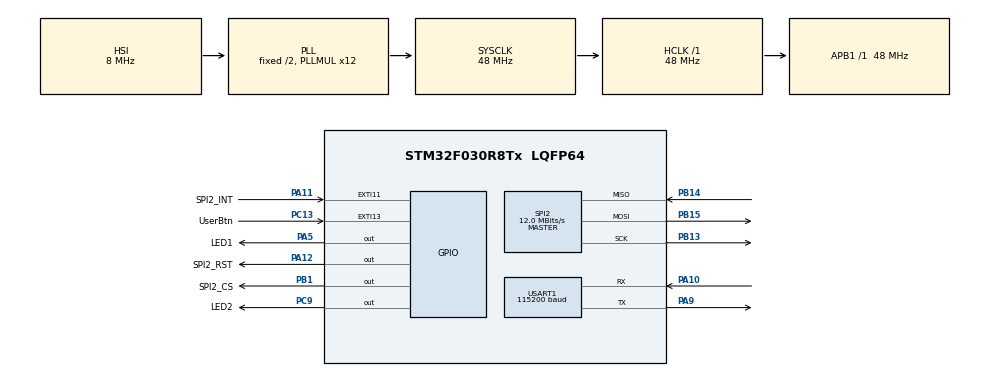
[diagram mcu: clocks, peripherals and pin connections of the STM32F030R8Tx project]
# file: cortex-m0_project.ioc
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Mcu.Family=STM32F0
Mcu.Name=STM32F030R8Tx
Mcu.Package=LQFP64
NVIC.EXTI4_15_IRQn=true\:0\:0\:false\:false\:true\:true\:true\:true
NVIC.SPI2_IRQn=true\:0\:0\:false\:false\:true\:true\:true\:true
NVIC.TIM1_BRK_UP_TRG_COM_IRQn=true\:0\:0\:false\:false\:true\:true\:true\:true
NVIC.TIM1_CC_IRQn=true\:0\:0\:false\:false\:true\:true\:true\:true
NVIC.TIM3_IRQn=true\:0\:0\:false\:false\:true\:true\:true\:true
NVIC.USART1_IRQn=true\:0\:0\:false\:false\:true\:true\:true\:true
PA10.Mode=Asynchronous
PA10.Signal=USART1_RX
PA11.GPIO_Label=SPI2_INT
PA11.Signal=GPXTI11
PA12.GPIO_Label=SPI2_RST
PA12.GPIO_Speed=GPIO_SPEED_FREQ_MEDIUM
PA12.Signal=GPIO_Output
PA13.Mode=Serial_Wire
PA13.Signal=SYS_SWDIO
PA14.Mode=Serial_Wire
PA14.Signal=SYS_SWCLK
PA5.GPIO_Label=LED1
PA5.Signal=GPIO_Output
PA9.Mode=Asynchronous
PA9.Signal=USART1_TX
PB1.GPIO_Label=SPI2_CS
PB1.GPIO_Speed=GPIO_SPEED_FREQ_MEDIUM
PB1.Signal=GPIO_Output
PB13.Mode=Full_Duplex_Master
PB13.Signal=SPI2_SCK
PB14.Mode=Full_Duplex_Master
PB14.Signal=SPI2_MISO
PB15.Mode=Full_Duplex_Master
PB15.Signal=SPI2_MOSI
PC13.GPIO_Label=UserBtn
PC13.GPIO_ModeDefaultEXTI=GPIO_MODE_IT_FALLING
PC13.Signal=GPXTI13
PC9.GPIO_Label=LED2
PC9.Signal=GPIO_Output
PF0-OSC_IN.Mode=HSE-External-Oscillator
PF0-OSC_IN.Signal=RCC_OSC_IN
PF1-OSC_OUT.Mode=HSE-External-Oscillator
PF1-OSC_OUT.Signal=RCC_OSC_OUT
ProjectManager.HeapSize=0x200
ProjectManager.StackSize=0x400
ProjectManager.TargetToolchain=STM32CubeIDE
RCC.AHBFreq_Value=48000000
RCC.APB1Freq_Value=48000000
RCC.APB1TimFreq_Value=48000000
RCC.HCLKFreq_Value=48000000
RCC.PLLMUL=RCC_PLL_MUL12
RCC.SYSCLKFreq_VALUE=48000000
RCC.SYSCLKSource=RCC_SYSCLKSOURCE_PLLCLK
SPI2.BaudRatePrescaler=SPI_BAUDRATEPRESCALER_4
SPI2.CalculateBaudRate=12.0 MBits/s
SPI2.DataSize=SPI_DATASIZE_8BIT
SPI2.Direction=SPI_DIRECTION_2LINES
SPI2.Mode=SPI_MODE_MASTER
SPI2.VirtualType=VM_MASTER
TIM1.Period=999
TIM1.Prescaler=47999
TIM3.Period=999
TIM3.Prescaler=47999
USART1.BaudRate=115200
USART1.VirtualMode-Asynchronous=VM_ASYNC
VP_TIM1_VS_ClockSourceINT.Mode=Internal
VP_TIM3_VS_ClockSourceINT.Mode=Internal
board=custom

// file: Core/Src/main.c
/* USER CODE BEGIN Header */
/**
 ******************************************************************************
 * @file
 *      : main.c
 * @brief          : Main program body
 ******************************************************************************
 * @attention
 *
 * Copyright (c) 2022 STMicroelectronics.
 * All rights reserved.
 *
 * This software is licensed under terms that can be found in the LICENSE file
 * in the root directory of this software component.
 * If no LICENSE file comes with this software, it is provided AS-IS.
 *
 ******************************************************************************
 */
/* USER CODE END Header */
#include "main.h"

/* USER CODE BEGIN Includes */
// ====================

// ====================
/* USER CODE END Includes */

/* USER CODE BEGIN PTD */
// ====================

// ====================
/* USER CODE END PTD */

/* USER CODE BEGIN PD */
// ====================

// ====================
/* USER CODE END PD */

/* USER CODE BEGIN PM */
// ====================

// ====================
/* USER CODE END PM */

SPI_HandleTypeDef hspi2;

TIM_HandleTypeDef htim1;
TIM_HandleTypeDef htim3;

UART_HandleTypeDef huart1;

/* USER CODE BEGIN PV */
// ====================
const uint8_t SOCKET_NUM = 1;
int16_t socketStatus = -1;

// ====================
/* USER CODE END PV */

void SystemClock_Config(void);
static void MX_GPIO_Init(void);
static void MX_TIM1_Init(void);
static void MX_USART1_UART_Init(void);
static void MX_SPI2_Init(void);
static void MX_TIM3_Init(void);
/* USER CODE BEGIN PFP */
// ====================
void Wiznet_Init(void);
void Wiznet_Select(void);
void Wiznet_Unselect(void);
void Wiznet_ReadBuff(uint8_t* buff, uint16_t len);
void Wiznet_WriteBuff(uint8_t* buff, uint16_t len);
uint8_t Wiznet_ReadByte(void);
void Wiznet_WriteByte(uint8_t byte);
//void Wiznet_CrisExit_Callback(void);
//void Wiznet_CrisEnter_Callback(void);
// ====================
/* USER CODE END PFP */

/* USER CODE BEGIN 0 */
// ====================

// ====================
/* USER CODE END 0 */

int main(void)
{
  /* USER CODE BEGIN 1 */
  // ====================

  // ====================
  /* USER CODE END 1 */

  /* MCU Configuration--------------------------------------------------------*/

  /* Reset of all peripherals, Initializes the Flash interface and the Systick. */
  HAL_Init();

  /* USER CODE BEGIN Init */
  // ====================

  // ====================
  /* USER CODE END Init */

  /* Configure the system clock */
  SystemClock_Config();

  /* USER CODE BEGIN SysInit */
  // ====================

  // ====================
  /* USER CODE END SysInit */

  /* Initialize all configured peripherals */
  MX_GPIO_Init();
  MX_TIM1_Init();
  MX_USART1_UART_Init();
  MX_SPI2_Init();
  MX_TIM3_Init();
  /* USER CODE BEGIN 2 */
  // ====================
  Wiznet_Init();

  // Timers
  __HAL_TIM_CLEAR_FLAG(&htim1, TIM_SR_UIF);
  HAL_TIM_Base_Start_IT(&htim1);
  //  __HAL_TIM_CLEAR_FLAG(&htim3, TIM_SR_UIF);
  //  HAL_TIM_Base_Start_IT(&htim3);
  // ~Timers

  // ====================
  /* USER CODE END 2 */

  /* Infinite loop */
  /* USER CODE BEGIN WHILE */
  // ====================

  while (1)
  {
    // CLIENT
    printf("Opening a socket #%d\r\n", SOCKET_NUM);
    socketStatus = socket(SOCKET_NUM, Sn_MR_TCP, 818, Sn_MR_ND);
    if (socketStatus != SOCKET_NUM) {
      printf("Opening of a socket #%d, failed with code: %d\r\n",
             SOCKET_NUM, socketStatus);
  //      continue;
    } else {
      printf("Socket #%d successfully opened!\r\n",
             SOCKET_NUM);
    }
    HAL_Delay(1000);

    socketStatus = httpc_connect(SOCKET_NUM);
    if (SOCK_OK != socketStatus) {
      printf("Cannot connect to the server. Code: %d\r\n",
             socketStatus);
    } else {
      printf("Connected to: %d.%d.%d.%d:%d\r\n",
             SERVER_IP[0], SERVER_IP[1], SERVER_IP[2], SERVER_IP[3], SERVER_PORT);
    }
    HAL_Delay(1000);

    Request request = {
        GET,
        (uint8_t*)"/?page=getcmd&id=6&val=0&st=0",
        (uint8_t*)"192.168.1.23:80"
    };
    socketStatus = httpc_send(SOCKET_NUM, &request);
    if (socketStatus <= 0) {
      printf("send() failed. Code: %d\r\n", socketStatus);
    } else {
      printf("Request successfully sent. Len: %d\r\n", socketStatus);
    }
    HAL_Delay(1000);

    socketStatus = httpc_recv(SOCKET_NUM);
    if (socketStatus <= 0) {
      printf("recv() failed. Code: %d\r\n", socketStatus);
    } else {
      printf("Reply processed.\r\n");
    }
    HAL_Delay(1000);

    printf("Disconnecting socket #%d\r\n", SOCKET_NUM);
    disconnect(SOCKET_NUM);

    printf("Closing socket #%d\r\n", SOCKET_NUM);
    close(SOCKET_NUM);

    HAL_Delay(1000);

//     SERVER
//    printf("Opening a socket #%d\r\n", SOCKET_NUM);
//    socketStatus = socket(SOCKET_NUM, Sn_MR_TCP, 80, 0);
//    if (socketStatus != SOCKET_NUM) {
//      printf("Opening of socket #%d, failed with code: %d\r\n", SOCKET_NUM, socketStatus);
//  //      continue;
//    }
//    printf("Socket #%d successfully opened!\r\n", SOCKET_NUM);
//
//    socketStatus = listen(SOCKET_NUM);
//    if (socketStatus !=  SOCK_OK) {
//      printf("Can't listen a socket. Code: %d\r\n", socketStatus);
////      continue;
//    }
//    printf("Listing to socket #%d\r\n", SOCKET_NUM);
//
//    while (getSn_SR(SOCKET_NUM) == SOCK_LISTEN);
//
//    printf("Input connection\r\n");
//    if (getSn_SR(SOCKET_NUM) != SOCK_ESTABLISHED) {
//      printf("Socket listing error: %d\r\n", socketStatus);
//    }
//
//    uint8_t rIP[4];
//    getsockopt(SOCKET_NUM, SO_DESTIP, rIP);
//    printf("Listening to: %d.%d.%d.%d\r\n", rIP[0], rIP[1], rIP[2], rIP[3]);
//
//    sprintf(message, "Input counter = %d", iterator);
//
//    socketStatus = send(SOCKET_NUM, (uint8_t*)message, strlen(message));
//    if (socketStatus != strlen(message)) {
//      printf("Cannot send data! Code:%d\r\n", socketStatus);
//    }
//
//    disconnect(SOCKET_NUM);
//
////    printf("Closing socket\r\n");
////    close(SOCKET_NUM);
//
//    HAL_Delay(1000);
//    ++iterator;
//
//     ~SERVER

    // ====================
    /* USER CODE END WHILE */

    /* USER CODE BEGIN 3 */
    // ====================
//    HAL_Delay(1000);
  }
  // ====================
  /* USER CODE END 3 */
}

void SystemClock_Config(void)
{
  RCC_OscInitTypeDef RCC_OscInitStruct = {0};
  RCC_ClkInitTypeDef RCC_ClkInitStruct = {0};
  RCC_PeriphCLKInitTypeDef PeriphClkInit = {0};

  /** Initializes the RCC Oscillators according to the specified parameters
  * in the RCC_OscInitTypeDef structure.
  */
  RCC_OscInitStruct.OscillatorType = RCC_OSCILLATORTYPE_HSI;
  RCC_OscInitStruct.HSIState = RCC_HSI_ON;
  RCC_OscInitStruct.HSICalibrationValue = RCC_HSICALIBRATION_DEFAULT;
  RCC_OscInitStruct.PLL.PLLState = RCC_PLL_ON;
  RCC_OscInitStruct.PLL.PLLSource = RCC_PLLSOURCE_HSI;
  RCC_OscInitStruct.PLL.PLLMUL = RCC_PLL_MUL12;
  RCC_OscInitStruct.PLL.PREDIV = RCC_PREDIV_DIV1;
  if (HAL_RCC_OscConfig(&RCC_OscInitStruct) != HAL_OK)
  {
    Error_Handler();
  }

  /** Initializes the CPU, AHB and APB buses clocks
  */
  RCC_ClkInitStruct.ClockType = RCC_CLOCKTYPE_HCLK|RCC_CLOCKTYPE_SYSCLK
                              |RCC_CLOCKTYPE_PCLK1;
  RCC_ClkInitStruct.SYSCLKSource = RCC_SYSCLKSOURCE_PLLCLK;
  RCC_ClkInitStruct.AHBCLKDivider = RCC_SYSCLK_DIV1;
  RCC_ClkInitStruct.APB1CLKDivider = RCC_HCLK_DIV1;

  if (HAL_RCC_ClockConfig(&RCC_ClkInitStruct, FLASH_LATENCY_1) != HAL_OK)
  {
    Error_Handler();
  }
  PeriphClkInit.PeriphClockSelection = RCC_PERIPHCLK_USART1;
  PeriphClkInit.Usart1ClockSelection = RCC_USART1CLKSOURCE_PCLK1;
  if (HAL_RCCEx_PeriphCLKConfig(&PeriphClkInit) != HAL_OK)
  {
    Error_Handler();
  }
}

static void MX_SPI2_Init(void)
{

  /* SPI2 parameter configuration*/
  hspi2.Instance = SPI2;
  hspi2.Init.Mode = SPI_MODE_MASTER;
  hspi2.Init.Direction = SPI_DIRECTION_2LINES;
  hspi2.Init.DataSize = SPI_DATASIZE_8BIT;
  hspi2.Init.CLKPolarity = SPI_POLARITY_LOW;
  hspi2.Init.CLKPhase = SPI_PHASE_1EDGE;
  hspi2.Init.NSS = SPI_NSS_SOFT;
  hspi2.Init.BaudRatePrescaler = SPI_BAUDRATEPRESCALER_4;
  hspi2.Init.FirstBit = SPI_FIRSTBIT_MSB;
  hspi2.Init.TIMode = SPI_TIMODE_DISABLE;
  hspi2.Init.CRCCalculation = SPI_CRCCALCULATION_DISABLE;
  hspi2.Init.CRCPolynomial = 7;
  hspi2.Init.CRCLength = SPI_CRC_LENGTH_DATASIZE;
  hspi2.Init.NSSPMode = SPI_NSS_PULSE_ENABLE;
  if (HAL_SPI_Init(&hspi2) != HAL_OK)
  {
    Error_Handler();
  }

}

static void MX_TIM1_Init(void)
{

  /* USER CODE BEGIN TIM1_Init 0 */
  // ====================

  // ====================
  /* USER CODE END TIM1_Init 0 */

  TIM_ClockConfigTypeDef sClockSourceConfig = {0};
  TIM_MasterConfigTypeDef sMasterConfig = {0};

  /* USER CODE BEGIN TIM1_Init 1 */
  // ====================

  // ====================
  /* USER CODE END TIM1_Init 1 */
  htim1.Instance = TIM1;
  htim1.Init.Prescaler = 47999;
  htim1.Init.CounterMode = TIM_COUNTERMODE_UP;
  htim1.Init.Period = 999;
  htim1.Init.ClockDivision = TIM_CLOCKDIVISION_DIV1;
  htim1.Init.RepetitionCounter = 0;
  htim1.Init.AutoReloadPreload = TIM_AUTORELOAD_PRELOAD_DISABLE;
  if (HAL_TIM_Base_Init(&htim1) != HAL_OK)
  {
    Error_Handler();
  }
  sClockSourceConfig.ClockSource = TIM_CLOCKSOURCE_INTERNAL;
  if (HAL_TIM_ConfigClockSource(&htim1, &sClockSourceConfig) != HAL_OK)
  {
    Error_Handler();
  }
  sMasterConfig.MasterOutputTrigger = TIM_TRGO_RESET;
  sMasterConfig.MasterSlaveMode = TIM_MASTERSLAVEMODE_DISABLE;
  if (HAL_TIMEx_MasterConfigSynchronization(&htim1, &sMasterConfig) != HAL_OK)
  {
    Error_Handler();
  }
  /* USER CODE BEGIN TIM1_Init 2 */
  // ====================

  // ====================
  /* USER CODE END TIM1_Init 2 */

}

static void MX_TIM3_Init(void)
{

  TIM_ClockConfigTypeDef sClockSourceConfig = {0};
  TIM_MasterConfigTypeDef sMasterConfig = {0};

  htim3.Instance = TIM3;
  htim3.Init.Prescaler = 47999;
  htim3.Init.CounterMode = TIM_COUNTERMODE_UP;
  htim3.Init.Period = 999;
  htim3.Init.ClockDivision = TIM_CLOCKDIVISION_DIV1;
  htim3.Init.AutoReloadPreload = TIM_AUTORELOAD_PRELOAD_DISABLE;
  if (HAL_TIM_Base_Init(&htim3) != HAL_OK)
  {
    Error_Handler();
  }
  sClockSourceConfig.ClockSource = TIM_CLOCKSOURCE_INTERNAL;
  if (HAL_TIM_ConfigClockSource(&htim3, &sClockSourceConfig) != HAL_OK)
  {
    Error_Handler();
  }
  sMasterConfig.MasterOutputTrigger = TIM_TRGO_RESET;
  sMasterConfig.MasterSlaveMode = TIM_MASTERSLAVEMODE_DISABLE;
  if (HAL_TIMEx_MasterConfigSynchronization(&htim3, &sMasterConfig) != HAL_OK)
  {
    Error_Handler();
  }

}

static void MX_USART1_UART_Init(void)
{

  /* USER CODE BEGIN USART1_Init 0 */
  // ====================

  // ====================
  /* USER CODE END USART1_Init 0 */

  /* USER CODE BEGIN USART1_Init 1 */
  // ====================

  // ====================
  /* USER CODE END USART1_Init 1 */
  huart1.Instance = USART1;
  huart1.Init.BaudRate = 115200;
  huart1.Init.WordLength = UART_WORDLENGTH_8B;
  huart1.Init.StopBits = UART_STOPBITS_1;
  huart1.Init.Parity = UART_PARITY_NONE;
  huart1.Init.Mode = UART_MODE_TX_RX;
  huart1.Init.HwFlowCtl = UART_HWCONTROL_NONE;
  huart1.Init.OverSampling = UART_OVERSAMPLING_16;
  huart1.Init.OneBitSampling = UART_ONE_BIT_SAMPLE_DISABLE;
  huart1.AdvancedInit.AdvFeatureInit = UART_ADVFEATURE_NO_INIT;
  if (HAL_UART_Init(&huart1) != HAL_OK)
  {
    Error_Handler();
  }
  /* USER CODE BEGIN USART1_Init 2 */
  // ====================

  // ====================
  /* USER CODE END USART1_Init 2 */

}

static void MX_GPIO_Init(void)
{
  GPIO_InitTypeDef GPIO_InitStruct = {0};

  /* GPIO Ports Clock Enable */
  __HAL_RCC_GPIOC_CLK_ENABLE();
  __HAL_RCC_GPIOF_CLK_ENABLE();
  __HAL_RCC_GPIOA_CLK_ENABLE();
  __HAL_RCC_GPIOB_CLK_ENABLE();

  /*Configure GPIO pin Output Level */
  HAL_GPIO_WritePin(GPIOA, LED1_Pin|SPI2_RST_Pin, GPIO_PIN_RESET);

  /*Configure GPIO pin Output Level */
  HAL_GPIO_WritePin(SPI2_CS_GPIO_Port, SPI2_CS_Pin, GPIO_PIN_RESET);

  /*Configure GPIO pin Output Level */
  HAL_GPIO_WritePin(LED2_GPIO_Port, LED2_Pin, GPIO_PIN_RESET);

  /*Configure GPIO pin : UserBtn_Pin */
  GPIO_InitStruct.Pin = UserBtn_Pin;
  GPIO_InitStruct.Mode = GPIO_MODE_IT_FALLING;
  GPIO_InitStruct.Pull = GPIO_NOPULL;
  HAL_GPIO_Init(UserBtn_GPIO_Port, &GPIO_InitStruct);

  /*Configure GPIO pin : LED1_Pin */
  GPIO_InitStruct.Pin = LED1_Pin;
  GPIO_InitStruct.Mode = GPIO_MODE_OUTPUT_PP;
  GPIO_InitStruct.Pull = GPIO_NOPULL;
  GPIO_InitStruct.Speed = GPIO_SPEED_FREQ_LOW;
  HAL_GPIO_Init(LED1_GPIO_Port, &GPIO_InitStruct);

  /*Configure GPIO pin : SPI2_CS_Pin */
  GPIO_InitStruct.Pin = SPI2_CS_Pin;
  GPIO_InitStruct.Mode = GPIO_MODE_OUTPUT_PP;
  GPIO_InitStruct.Pull = GPIO_NOPULL;
  GPIO_InitStruct.Speed = GPIO_SPEED_FREQ_MEDIUM;
  HAL_GPIO_Init(SPI2_CS_GPIO_Port, &GPIO_InitStruct);

  /*Configure GPIO pin : LED2_Pin */
  GPIO_InitStruct.Pin = LED2_Pin;
  GPIO_InitStruct.Mode = GPIO_MODE_OUTPUT_PP;
  GPIO_InitStruct.Pull = GPIO_NOPULL;
  GPIO_InitStruct.Speed = GPIO_SPEED_FREQ_LOW;
  HAL_GPIO_Init(LED2_GPIO_Port, &GPIO_InitStruct);

  /*Configure GPIO pin : SPI2_INT_Pin */
  GPIO_InitStruct.Pin = SPI2_INT_Pin;
  GPIO_InitStruct.Mode = GPIO_MODE_IT_RISING;
  GPIO_InitStruct.Pull = GPIO_NOPULL;
  HAL_GPIO_Init(SPI2_INT_GPIO_Port, &GPIO_InitStruct);

  /*Configure GPIO pin : SPI2_RST_Pin */
  GPIO_InitStruct.Pin = SPI2_RST_Pin;
  GPIO_InitStruct.Mode = GPIO_MODE_OUTPUT_PP;
  GPIO_InitStruct.Pull = GPIO_NOPULL;
  GPIO_InitStruct.Speed = GPIO_SPEED_FREQ_MEDIUM;
  HAL_GPIO_Init(SPI2_RST_GPIO_Port, &GPIO_InitStruct);

  /* EXTI interrupt init*/
  HAL_NVIC_SetPriority(EXTI4_15_IRQn, 0, 0);
  HAL_NVIC_EnableIRQ(EXTI4_15_IRQn);

}

/* USER CODE BEGIN 4 */
// ====================
// �?нициализация настроек устройства
void Wiznet_Init(void)
{
  // hard reset
  HAL_GPIO_WritePin(SPI2_RST_GPIO_Port, SPI2_RST_Pin, GPIO_PIN_RESET);
  HAL_Delay(70);
  HAL_GPIO_WritePin(SPI2_RST_GPIO_Port, SPI2_RST_Pin, GPIO_PIN_SET);
  HAL_Delay(70);

  // регистрация функций
  reg_wizchip_cs_cbfunc(Wiznet_Select, Wiznet_Unselect);
  reg_wizchip_spi_cbfunc(Wiznet_ReadByte, Wiznet_WriteByte);
  reg_wizchip_spiburst_cbfunc(Wiznet_ReadBuff, Wiznet_WriteBuff);
  //  reg_wizchip_cris_cbfunc(Wiznet_CrisEnter_Callback, Wiznet_CrisExit_Callback);

  // инициализация размеров буферов для сокетов
  uint8_t rx_tx_buff_sizes[2][8] = {
      { 2, 2, 2, 2, 2, 2, 2, 2, }, { 2, 2, 2, 2, 2, 2, 2, 2, }
  };
  ctlwizchip(CW_INIT_WIZCHIP, rx_tx_buff_sizes);

  // инициализация параметров сети
  wiz_NetInfo netInfo = {
      .mac  = { 0xD4, 0x3D, 0x7E, 0x50, 0xAB, 0x0F },
      .ip   = { 192, 168, 1, 123 },
      .sn   = { 255, 255, 255, 0 },
      .gw   = { 192, 168, 1, 23 },
//      .dns  = { 192, 168, 1, 1 },
      .dhcp = NETINFO_STATIC
  };
  ctlnetwork(CN_SET_NETINFO, (void*)&netInfo);
  printNetworkInfo();
}
void Wiznet_Select(void)
{
  HAL_GPIO_WritePin(SPI2_CS_GPIO_Port, SPI2_CS_Pin, GPIO_PIN_RESET);
//  printf("Wiznet_Select(void)\r\n");
}
void Wiznet_Unselect(void)
{
  HAL_GPIO_WritePin(SPI2_CS_GPIO_Port, SPI2_CS_Pin, GPIO_PIN_SET);
//  printf("Wiznet_Unselect(void)\r\n");
}
void Wiznet_ReadBuff(uint8_t* buff, uint16_t len)
{
  HAL_SPI_Receive(&hspi2, buff, len, HAL_MAX_DELAY);
//  printf("Wiznet_ReadBuff(uint8_t* buff = %d, uint16_t len = %d)\r\n", *buff, len);
}
void Wiznet_WriteBuff(uint8_t* buff, uint16_t len)
{
//  printf("Wiznet_WriteBuff(uint8_t* buff = %d, uint16_t len = %d)\r\n", *buff, len);
  HAL_SPI_Transmit(&hspi2, buff, len, HAL_MAX_DELAY);
}
uint8_t Wiznet_ReadByte(void)
{
  uint8_t byte;
  Wiznet_ReadBuff(&byte, sizeof(byte));
//  printf("Wiznet_ReadByte(void)  byte = %d\r\n", byte);
  return byte;
}
void Wiznet_WriteByte(uint8_t byte)
{
//  printf("Wiznet_WriteByte(uint8_t byte = %d)\r\n", byte);
  Wiznet_WriteBuff(&byte, sizeof(byte));
}

//void Wiznet_CrisEnter_Callback(void)
//{
//  printf("Wiznet_CrisEnter_Callback\r\n");
//}

//void Wiznet_CrisExit_Callback(void)
//{
//  printf("Wiznet_CrisExit_Callback\r\n");
//}

// перенаправление printf в Uart
int _write(int file, char *ptr, int len)
{
  HAL_UART_Transmit(&huart1, (uint8_t*)ptr, len, HAL_MAX_DELAY);
  return len;
}

void HAL_GPIO_EXTI_Callback(uint16_t GPIO_Pin)
{
  printf("EXTI_pin = %d\r\n", GPIO_Pin);
  if (GPIO_Pin == UserBtn_Pin) {
    HAL_GPIO_TogglePin(SPI2_RST_GPIO_Port, SPI2_RST_Pin);
//    HAL_GPIO_TogglePin(LED2_GPIO_Port, LED2_Pin);
  } else if (GPIO_Pin == SPI2_INT_Pin) {
    printf("Got LAN module's interrupt\r\n");
  }

}

void HAL_TIM_PeriodElapsedCallback(TIM_HandleTypeDef *htim)
{
  if(htim->Instance == TIM1) {
    static uint32_t seconds = 0;
    ++seconds;
//    printf("%02d:%02d:%02d\r\n",
//           seconds / 60 / 60,
//           seconds / 60,
//           seconds % 60
//           );
    HAL_GPIO_TogglePin(LED1_GPIO_Port, LED1_Pin);
  } else if (htim->Instance) {

  }
}

// ====================
/* USER CODE END 4 */

void Error_Handler(void)
{
  /* USER CODE BEGIN Error_Handler_Debug */
  // ====================
  /* User can add his own implementation to report the HAL error return state */
  __disable_irq();
  while (1)
  {
    HAL_GPIO_TogglePin(LED2_GPIO_Port, LED2_Pin);
    HAL_Delay(200);
  }
  // ====================
  /* USER CODE END Error_Handler_Debug */
}

#ifdef  USE_FULL_ASSERT
/**
  * @brief  Reports the name of the source file and the source line number
  *         where the assert_param error has occurred.
  * @param  file: pointer to the source file name
  * @param  line: assert_param error line source number
  * @retval None
  */
void assert_failed(uint8_t *file, uint32_t line)
{
  /* USER CODE BEGIN 6 */
  // ====================
  /* User can add his own implementation to report the file name and line number,
     ex: printf("Wrong parameters value: file %s on line %d\r\n", file, line) */

  // ====================
  /* USER CODE END 6 */
}
#endif /* USE_FULL_ASSERT */
